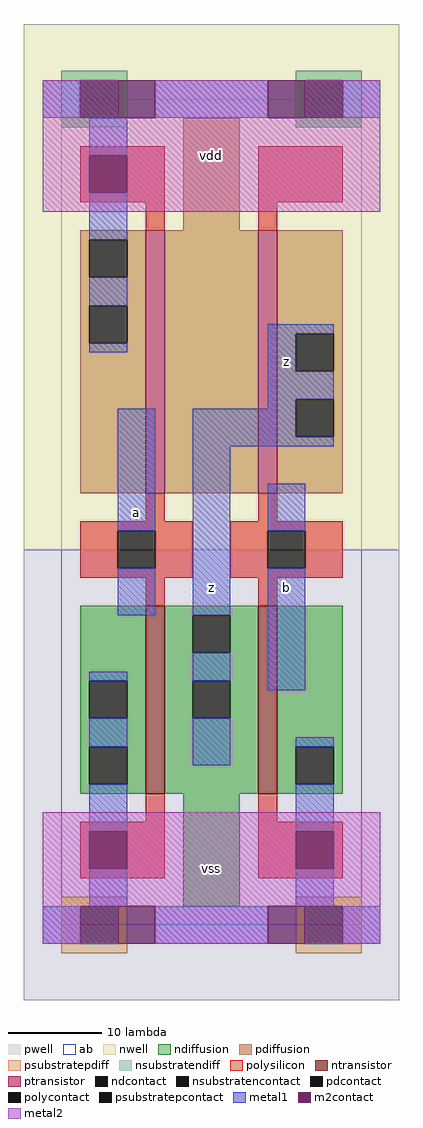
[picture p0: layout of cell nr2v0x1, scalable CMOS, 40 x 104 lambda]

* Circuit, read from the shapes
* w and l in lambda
.subckt nr2v0x1 a b vdd vss z
M1 z a vss vss nfet w=20 l=2
M2 vss b z vss nfet w=20 l=2
M3 n1 a vdd vdd pfet w=28 l=2
M4 z b n1 vdd pfet w=28 l=2
.ends

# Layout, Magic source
magic
tech scmos
<< ab >>
rect 0 0 32 88
<< pwell >>
rect -4 -8 36 40
<< nwell >>
rect -4 40 36 96
<< polysilicon >>
rect 2 77 11 83
rect 9 74 11 77
rect 21 77 30 83
rect 21 74 23 77
rect 9 43 11 46
rect 21 43 23 46
rect 2 42 14 43
rect 2 38 6 42
rect 10 38 14 42
rect 2 37 14 38
rect 18 42 30 43
rect 18 38 22 42
rect 26 38 30 42
rect 18 37 30 38
rect 9 34 11 37
rect 21 34 23 37
rect 9 11 11 14
rect 2 5 11 11
rect 21 11 23 14
rect 21 5 30 11
<< ndiffusion >>
rect 2 26 9 34
rect 2 22 3 26
rect 7 22 9 26
rect 2 19 9 22
rect 2 15 3 19
rect 7 15 9 19
rect 2 14 9 15
rect 11 33 21 34
rect 11 29 14 33
rect 18 29 21 33
rect 11 26 21 29
rect 11 22 14 26
rect 18 22 21 26
rect 11 14 21 22
rect 23 19 30 34
rect 23 15 25 19
rect 29 15 30 19
rect 23 14 30 15
rect 13 2 19 14
<< pdiffusion >>
rect 13 74 19 86
rect 2 73 9 74
rect 2 69 3 73
rect 7 69 9 73
rect 2 66 9 69
rect 2 62 3 66
rect 7 62 9 66
rect 2 46 9 62
rect 11 46 21 74
rect 23 63 30 74
rect 23 59 25 63
rect 29 59 30 63
rect 23 56 30 59
rect 23 52 25 56
rect 29 52 30 56
rect 23 46 30 52
<< metal1 >>
rect -2 86 2 90
rect 10 86 22 90
rect 30 86 34 90
rect 3 82 7 86
rect 3 73 7 78
rect 3 66 7 69
rect 3 61 7 62
rect 22 63 29 64
rect 22 59 25 63
rect 22 56 29 59
rect 22 55 25 56
rect 6 42 10 55
rect 6 33 10 38
rect 14 52 25 55
rect 14 51 29 52
rect 14 33 18 51
rect 3 26 7 27
rect 3 19 7 22
rect 14 26 18 29
rect 22 42 26 47
rect 22 25 26 38
rect 14 17 18 22
rect 25 19 29 20
rect 3 10 7 15
rect 3 2 7 6
rect 25 10 29 15
rect 25 2 29 6
rect -2 -2 2 2
rect 10 -2 22 2
rect 30 -2 34 2
<< metal2 >>
rect -2 86 6 90
rect 10 86 22 90
rect 26 86 34 90
rect -2 82 34 86
rect -2 78 3 82
rect 7 78 34 82
rect -2 76 34 78
rect -2 10 34 12
rect -2 6 3 10
rect 7 6 25 10
rect 29 6 34 10
rect -2 2 34 6
rect -2 -2 6 2
rect 10 -2 22 2
rect 26 -2 34 2
<< ntransistor >>
rect 9 14 11 34
rect 21 14 23 34
<< ptransistor >>
rect 9 46 11 74
rect 21 46 23 74
<< polycontact >>
rect 6 38 10 42
rect 22 38 26 42
<< ndcontact >>
rect 3 22 7 26
rect 3 15 7 19
rect 14 29 18 33
rect 14 22 18 26
rect 25 15 29 19
<< pdcontact >>
rect 3 69 7 73
rect 3 62 7 66
rect 25 59 29 63
rect 25 52 29 56
<< m2contact >>
rect 6 86 10 90
rect 22 86 26 90
rect 3 78 7 82
rect 3 6 7 10
rect 25 6 29 10
rect 6 -2 10 2
rect 22 -2 26 2
<< psubstratepcontact >>
rect 2 -2 6 2
rect 26 -2 30 2
<< nsubstratencontact >>
rect 2 86 6 90
rect 26 86 30 90
<< psubstratepdiff >>
rect 0 2 7 3
rect 25 2 32 3
rect 0 -2 2 2
rect 6 -2 7 2
rect 0 -3 7 -2
rect 25 -2 26 2
rect 30 -2 32 2
rect 25 -3 32 -2
<< nsubstratendiff >>
rect 0 90 7 91
rect 0 86 2 90
rect 6 86 7 90
rect 25 90 32 91
rect 25 86 26 90
rect 30 86 32 90
rect 0 85 7 86
rect 25 85 32 86
<< labels >>
rlabel metal1 8 44 8 44 6 a
rlabel metal1 16 36 16 36 6 z
rlabel metal1 24 36 24 36 6 b
rlabel metal1 24 60 24 60 6 z
rlabel metal2 16 6 16 6 6 vss
rlabel metal2 16 82 16 82 6 vdd
<< end >>
